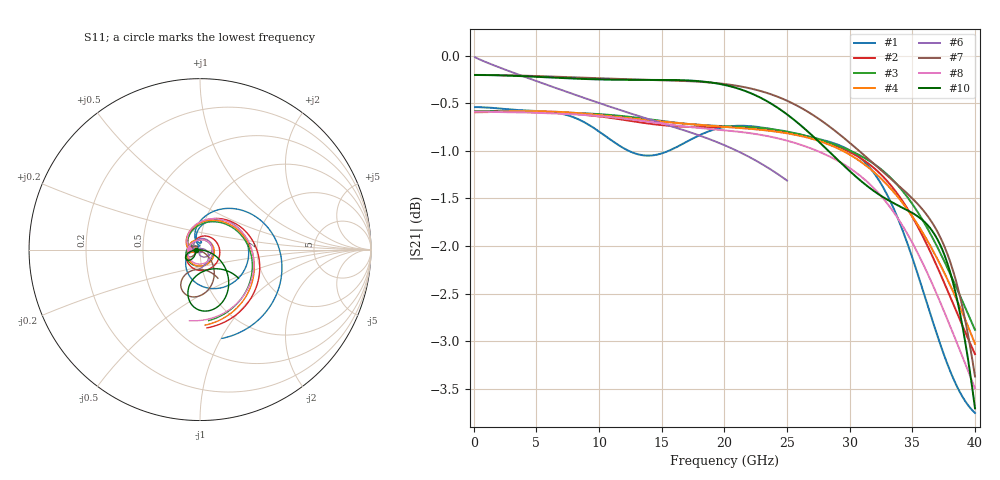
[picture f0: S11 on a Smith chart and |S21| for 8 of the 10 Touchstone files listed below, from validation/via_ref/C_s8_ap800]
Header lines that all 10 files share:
# Hz S RI R 50
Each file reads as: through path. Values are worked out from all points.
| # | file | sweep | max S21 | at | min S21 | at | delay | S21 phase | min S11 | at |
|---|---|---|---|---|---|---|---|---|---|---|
| 1 | cst.s2p | 100 MHz to 40 GHz | -0.54 dB | 200 MHz | -3.8 dB | 40 GHz | 61.4 ps | -71 deg at 20.1 GHz | -43.0 dB | 23.2 GHz |
| 2 | cst_fine.s2p | 100 MHz to 40 GHz | -0.58 dB | 200 MHz | -3.1 dB | 40 GHz | 61.7 ps | -74 deg at 20.1 GHz | -37.6 dB | 24.3 GHz |
| 3 | cst_xfine.s2p | 100 MHz to 40 GHz | -0.58 dB | 200 MHz | -2.9 dB | 40 GHz | 61.4 ps | -73 deg at 20.1 GHz | -36.4 dB | 25 GHz |
| 4 | kisi.s2p | 100 MHz to 40 GHz | -0.58 dB | 4.6 GHz | -3.0 dB | 40 GHz | 61.8 ps | -75 deg at 20.1 GHz | -36.7 dB | 24.6 GHz |
| 5 | kisi_deembedded.s2p | 100 MHz to 40 GHz | -0.15 dB | 4.6 GHz | -2.2 dB | 40 GHz | 15 ps | -98 deg at 20.1 GHz | -34.7 dB | 100 MHz |
| 6 | kisi_model.s2p | 100 MHz to 25 GHz | -0.02 dB | 100 MHz | -1.3 dB | 25 GHz | 59.3 ps | 93 deg at 12.6 GHz | -58.7 dB | 19.2 GHz |
| 7 | ladder.s2p | 100 MHz to 40 GHz | -0.20 dB | 100 MHz | -3.4 dB | 40 GHz | 17.5 ps | -100 deg at 20.1 GHz | -44.6 dB | 20.3 GHz |
| 8 | openems.s2p | 100 MHz to 40 GHz | -0.59 dB | 100 MHz | -3.5 dB | 40 GHz | 62.5 ps | -79 deg at 20.1 GHz | -34.6 dB | 24.5 GHz |
| 9 | openems_base.s2p | 100 MHz to 40 GHz | -0.59 dB | 100 MHz | -3.9 dB | 40 GHz | 62.8 ps | -80 deg at 20.1 GHz | -40.1 dB | 23.1 GHz |
| 10 | pbm.s2p | 100 MHz to 40 GHz | -0.20 dB | 100 MHz | -3.7 dB | 40 GHz | 16.6 ps | -94 deg at 20.1 GHz | -55.5 dB | 18.6 GHz |
